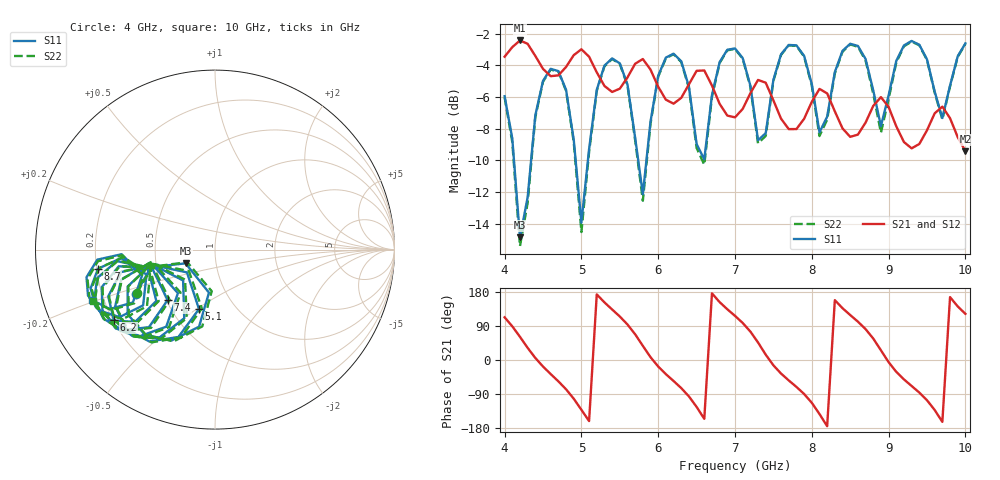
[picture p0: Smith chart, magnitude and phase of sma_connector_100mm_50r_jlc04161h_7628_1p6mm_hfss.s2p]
! Touchstone file exported from HFSS 3D Layout Design 2026.1.0
!  File:  D:/Work/ADS/SIMADS_EM_PAR/HFSS_VERDICT/sma_connector_100mm_50r_hfss_solve.aedt
!  Generated:  11:22:27 PM Aug  3, 2026
!  Design:  SMA_CONNECTOR_100MM_50R
!  Project:  sma_connector_100mm_50r_hfss_solve
# GHz S MA R 50.000000
! Terminal data exported
! Port[1] = Port1
! Port[2] = Port2
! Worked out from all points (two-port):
!   61 points, 4 GHz to 10 GHz, reference 50 ohm
!   highest |S21| = -2.44 dB at 4.2 GHz (marker M1); lowest = -9.4 dB at 10 GHz (marker M2)
!   |S21| within 3 dB of the highest: start of sweep to 5.335 GHz; 5.506 GHz to 6.01 GHz (504.6 MHz wide, 8.76 % of centre)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
!   lowest |S11| = -14.9 dB at 4.2 GHz (marker M3), VSWR 1.44, Z = 35.5 - j5.63 ohm
!   |S11| at or under -10 dB: 4.122 GHz to 4.345 GHz (222.6 MHz wide, 5.26 % of centre); 4.925 GHz to 5.085 GHz (159.6 MHz wide, 3.19 % of centre); 5.74 GHz to 5.847 GHz (106.4 MHz wide, 1.84 % of centre)
!   |S22| runs from -15.4 to -2.5 dB; largest |S21 - S12| = 6.8e-12
!   S11 on the Smith chart (normalised r, x): 4 GHz: 0.35, -0.23; 5.1 GHz: 0.68, -0.51; 6.2 GHz: 0.20, -0.30; 7.4 GHz: 0.51, -0.34; 8.7 GHz: 0.21, -0.08; 10 GHz: 0.16, -0.19
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4  0.5041 -150.8  0.6713 112.6  0.6713 112.6  0.5006 -150.8
4.2  0.1809 -154.9  0.7553 61.2  0.7553 61.2  0.1698 -155.7
4.5  0.5633 -115.7  0.6146 -17.2  0.6146 -17.2  0.5598 -114.1
4.8  0.5283 -157.1  0.6232 -77.3  0.6232 -77.3  0.5247 -157.0
5  0.2014 -140.9  0.7086 -131.4  0.7086 -131.4  0.1882 -140.6
5.1  0.3431 -105.1  0.6713 -161.2  0.6713 -161.2  0.3359 -102.6
5.5  0.6397 -150.4  0.5323 114.8  0.5323 114.8  0.637 -149.8
5.7  0.3727 -168.4  0.638 67.8  0.638 67.8  0.3662 -168.9
5.8  0.2474 -135.9  0.6602 37.3  0.6602 37.3  0.2362 -134.9
6  0.5847 -122.5  0.5398 -17.2  0.5398 -17.2  0.581 -121.2
6.2  0.6864 -145.2  0.4774 -55.4  0.4774 -55.4  0.6835 -144.7
6.6  0.3188 -130.4  0.6076 -155.3  0.6076 -155.3  0.3068 -128.7
7  0.7125 -151.7  0.4324 116.4  0.4324 116.4  0.7098 -151.0
7.4  0.3855 -133.2  0.5559 14.1  0.5559 14.1  0.3779 -131.9
7.6  0.6836 -138.9  0.4282 -35.9  0.4282 -35.9  0.6806 -138.1
8  0.5502 -173.3  0.484 -112.9  0.484 -112.9  0.5444 -173.5
8.2  0.4344 -138.8  0.5145 -174.7  0.5145 -174.7  0.4254 -137.6
8.7  0.6605 -170.7  0.4161 81.5  0.4161 81.5  0.6538 -170.9
9  0.5067 -142.2  0.4665 -5.7  0.4665 -5.7  0.4934 -140.2
9.5  0.6583 -175.1  0.3936 -106.2  0.3936 -106.2  0.6555 -174.3
9.7  0.4301 -160.7  0.4674 -163.3  0.4674 -163.3  0.4259 -159.9
10  0.7394 -157.6  0.3382 121.8  0.3382 121.8  0.7364 -157.1
